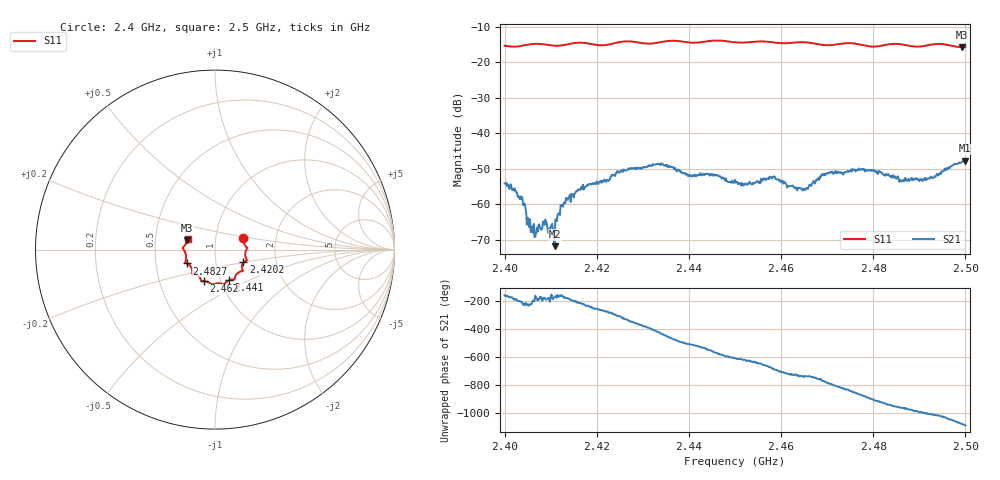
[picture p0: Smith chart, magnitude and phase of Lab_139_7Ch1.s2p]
# Hz S RI R 50
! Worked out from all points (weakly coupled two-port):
!   601 points, 2.4 GHz to 2.5 GHz, reference 50 ohm
!   highest |S21| = -47.82 dB at 2.4998 GHz (marker M1); lowest = -71.9 dB at 2.4108 GHz (marker M2)
!   lowest |S11| = -15.8 dB at 2.4993 GHz (marker M3), VSWR 1.39, Z = 36.5 + j3.86 ohm
!   |S11| at or under -10 dB: start of sweep to end of sweep
!   S12 and S22 are empty: the file has one direction only
!   S11 on the Smith chart (normalised r, x): 2.4 GHz: 1.36, +0.18; 2.4202 GHz: 1.36, -0.20; 2.441 GHz: 1.10, -0.39; 2.462 GHz: 0.84, -0.30; 2.4827 GHz: 0.72, -0.12; 2.5 GHz: 0.73, +0.09
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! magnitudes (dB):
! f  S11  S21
! 2.4 GHz  -15.4  -54.2
! 2.404 GHz  -15.3  -60.3
! 2.4062 GHz  -14.9  -68.1
! 2.4087 GHz  -15.0  -65.9
! 2.4108 GHz  -15.4  -71.9
! 2.4127 GHz  -15.2  -60.7
! 2.4167 GHz  -14.5  -55.1
! 2.4202 GHz  -15.2  -53.8
! 2.4333 GHz  -14.5  -48.8
! 2.441 GHz  -14.6  -51.9
! 2.45 GHz  -14.4  -53.2
! 2.4582 GHz  -14.4  -52.4
! 2.462 GHz  -14.6  -55.0
! 2.465 GHz  -14.4  -55.6
! 2.4667 GHz  -14.6  -54.3
! 2.4707 GHz  -15.2  -51.0
! 2.4827 GHz  -15.2  -52.0
! 2.4833 GHz  -15.0  -51.6
! 2.4905 GHz  -15.6  -53.0
! 2.4993 GHz  -15.8  -48.1
! 2.4998 GHz  -15.7  -47.8
! 2.5 GHz  -15.7  -47.9
